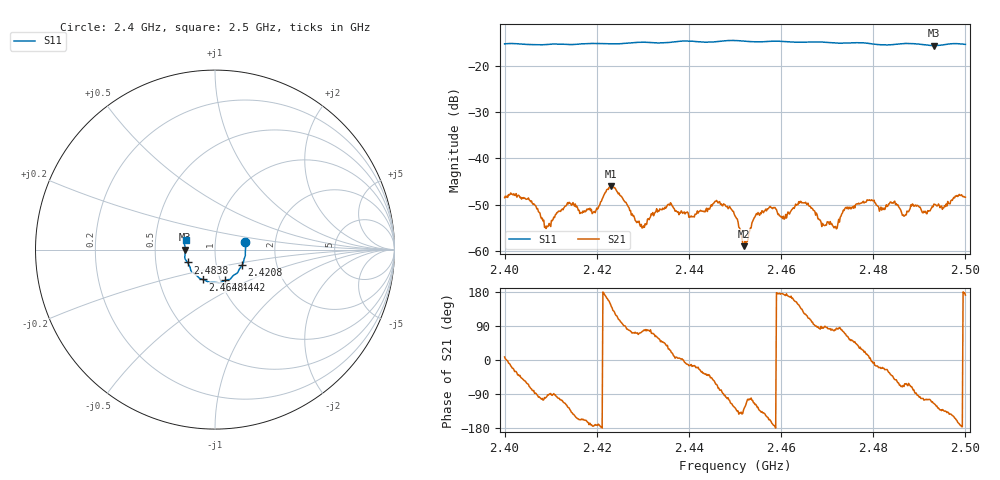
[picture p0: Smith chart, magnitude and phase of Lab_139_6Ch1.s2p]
# Hz S RI R 50
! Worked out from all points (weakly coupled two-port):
!   601 points, 2.4 GHz to 2.5 GHz, reference 50 ohm
!   highest |S21| = -46.06 dB at 2.4232 GHz (marker M1); lowest = -59.0 dB at 2.452 GHz (marker M2)
!   lowest |S11| = -15.6 dB at 2.4932 GHz (marker M3), VSWR 1.40, Z = 35.8 - j0.0664 ohm
!   |S11| at or under -10 dB: start of sweep to end of sweep
!   S12 and S22 are empty: the file has one direction only
!   S11 on the Smith chart (normalised r, x): 2.4 GHz: 1.40, +0.12; 2.4208 GHz: 1.33, -0.24; 2.4442 GHz: 1.05, -0.37; 2.4648 GHz: 0.83, -0.28; 2.4838 GHz: 0.73, -0.11; 2.5 GHz: 0.72, +0.08
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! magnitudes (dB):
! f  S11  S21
! 2.4 GHz  -15.2  -48.5
! 2.4053 GHz  -15.4  -48.9
! 2.4092 GHz  -15.4  -54.6
! 2.4138 GHz  -15.4  -49.8
! 2.4167 GHz  -15.2  -51.7
! 2.4208 GHz  -15.2  -49.4
! 2.4232 GHz  -15.2  -46.1
! 2.4298 GHz  -14.9  -55.0
! 2.4333 GHz  -15.0  -51.3
! 2.4442 GHz  -14.9  -50.8
! 2.45 GHz  -14.5  -52.4
! 2.452 GHz  -14.6  -59.0
! 2.4547 GHz  -14.8  -51.9
! 2.4648 GHz  -14.9  -49.6
! 2.4667 GHz  -14.8  -50.7
! 2.4717 GHz  -15.1  -54.7
! 2.474 GHz  -15.1  -50.6
! 2.4833 GHz  -15.5  -49.8
! 2.4838 GHz  -15.4  -49.4
! 2.4867 GHz  -15.2  -52.5
! 2.4932 GHz  -15.6  -49.9
! 2.5 GHz  -15.4  -48.4
